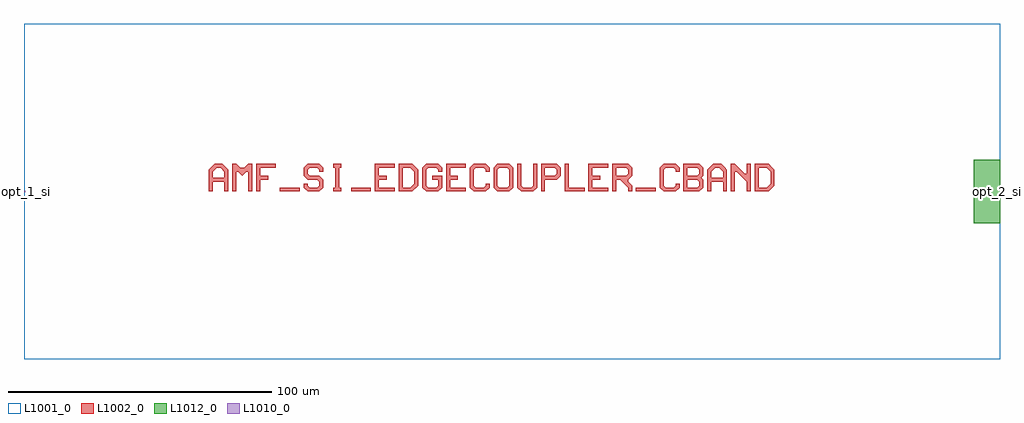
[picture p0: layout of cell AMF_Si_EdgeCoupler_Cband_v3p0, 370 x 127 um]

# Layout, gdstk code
import gdstk
lib = gdstk.Library(unit=1e-6, precision=1e-09)
def R(c, l, rs):  # rectangles x0, y0, x1, y1
    for r in rs: c.add(gdstk.rectangle(r[:2], r[2:], *l))
def P(c, l, *ps):  # polygons
    for p in ps: c.add(gdstk.Polygon(p, *l))
L1001_0 = (1001, 0)
L1002_0 = (1002, 0)
L1010_0 = (1010, 0)
L1012_0 = (1012, 0)

amf_si_edgecoupler_cband = lib.new_cell('AMF_Si_EdgeCoupler_Cband_v3p0')
R(amf_si_edgecoupler_cband, L1001_0, [(0,-63.5,370,63.5)])
R(amf_si_edgecoupler_cband, L1002_0, [(97,0,104.5,1.5), (124,0,131.5,1.5), (232,0,239.5,1.5)])
P(amf_si_edgecoupler_cband, L1002_0, [(70,0),(70,8.25),(72.25,10.5),(75.25,10.5),(76.75,9),(73,9),(71.5,7.5),(71.5,5.25),(76,5.25),(76,7.5),(74.5,9),(76.75,9),(77.5,8.25),(77.5,0),(76,0),(76,3.75),(71.5,3.75),(71.5,0)],
  [(79,0),(79,10.5),(80.5,10.5),(82,9),(83.5,9),(85,10.5),(86.5,10.5),(86.5,0),(85,0),(85,7.5),(84.25,7.5),(82.75,6),(81.25,7.5),(80.5,7.5),(80.5,0)],
  [(88,0),(88,10.5),(95.5,10.5),(95.5,9),(89.5,9),(89.5,6),(92.5,6),(92.5,4.5),(89.5,4.5),(89.5,0)],
  [(107.5,0),(106,1.5),(106,3),(107.5,3),(107.5,2.25),(108.25,1.5),(111.25,1.5),(112,2.25),(112,3.75),(111.25,4.5),(107.5,4.5),(106,6),(106,9),(107.5,10.5),(112,10.5),(113.5,9),(113.5,7.5),(112,7.5),(112,8.25),(111.25,9),(108.25,9),(107.5,8.25),(107.5,6.75),(108.25,6),(112,6),(113.5,4.5),(113.5,1.5),(112,0)],
  [(117.25,0),(117.25,1.5),(118,1.5),(118,9),(117.25,9),(117.25,10.5),(120.25,10.5),(120.25,9),(119.5,9),(119.5,1.5),(120.25,1.5),(120.25,0)],
  [(133,0),(133,10.5),(140.5,10.5),(140.5,9),(134.5,9),(134.5,6),(137.5,6),(137.5,4.5),(134.5,4.5),(134.5,1.5),(140.5,1.5),(140.5,0)],
  [(142,0),(142,10.5),(147.25,10.5),(148.75,9),(143.5,9),(143.5,1.5),(146.5,1.5),(148,3),(148,7.5),(146.5,9),(148.75,9),(149.5,8.25),(149.5,2.25),(147.25,0)],
  [(152.5,0),(151,1.5),(151,9),(152.5,10.5),(157,10.5),(158.5,9),(158.5,7.5),(157,7.5),(157,8.25),(156.25,9),(153.25,9),(152.5,8.25),(152.5,2.25),(153.25,1.5),(156.25,1.5),(157,2.25),(157,4.5),(154.75,4.5),(154.75,6),(158.5,6),(158.5,1.5),(157,0)],
  [(160,0),(160,10.5),(167.5,10.5),(167.5,9),(161.5,9),(161.5,6),(164.5,6),(164.5,4.5),(161.5,4.5),(161.5,1.5),(167.5,1.5),(167.5,0)],
  [(170.5,0),(169,1.5),(169,9),(170.5,10.5),(175,10.5),(176.5,9),(176.5,7.5),(175,7.5),(175,8.25),(174.25,9),(171.25,9),(170.5,8.25),(170.5,2.25),(171.25,1.5),(174.25,1.5),(175,2.25),(175,3),(176.5,3),(176.5,1.5),(175,0)],
  [(179.5,0),(178,1.5),(178,9),(179.5,10.5),(184,10.5),(185.5,9),(185.5,5.25),(184,5.25),(184,8.25),(183.25,9),(180.25,9),(179.5,8.25),(179.5,2.25),(180.25,1.5),(183.25,1.5),(184,2.25),(184,5.25),(185.5,5.25),(185.5,1.5),(184,0)],
  [(188.5,0),(187,1.5),(187,10.5),(188.5,10.5),(188.5,2.25),(189.25,1.5),(192.25,1.5),(193,2.25),(193,10.5),(194.5,10.5),(194.5,1.5),(193,0)],
  [(196,0),(196,10.5),(202,10.5),(203.5,9),(203.5,6),(202,4.5),(197.5,4.5),(197.5,6),(201.25,6),(202,6.75),(202,8.25),(201.25,9),(197.5,9),(197.5,0)],
  [(205,0),(205,10.5),(206.5,10.5),(206.5,1.5),(212.5,1.5),(212.5,0)],
  [(214,0),(214,10.5),(221.5,10.5),(221.5,9),(215.5,9),(215.5,6),(218.5,6),(218.5,4.5),(215.5,4.5),(215.5,1.5),(221.5,1.5),(221.5,0)],
  [(223,0),(223,10.5),(229,10.5),(230.5,9),(224.5,9),(224.5,6),(228.25,6),(229,6.75),(229,8.25),(228.25,9),(230.5,9),(230.5,6),(229,4.5),(229,3.75),(230.5,2.25),(230.5,0),(229,0),(229,1.5),(226,4.5),(224.5,4.5),(224.5,0)],
  [(242.5,0),(241,1.5),(241,9),(242.5,10.5),(247,10.5),(248.5,9),(248.5,7.5),(247,7.5),(247,8.25),(246.25,9),(243.25,9),(242.5,8.25),(242.5,2.25),(243.25,1.5),(246.25,1.5),(247,2.25),(247,3),(248.5,3),(248.5,1.5),(247,0)],
  [(250,0),(250,10.5),(256,10.5),(257.5,9),(251.5,9),(251.5,6),(255.25,6),(256,6.75),(256,8.25),(255.25,9),(257.5,9),(257.5,6),(256.75,5.25),(257.5,4.5),(251.5,4.5),(251.5,1.5),(255.25,1.5),(256,2.25),(256,3.75),(255.25,4.5),(257.5,4.5),(257.5,1.5),(256,0)],
  [(259,0),(259,8.25),(261.25,10.5),(264.25,10.5),(265.75,9),(262,9),(260.5,7.5),(260.5,5.25),(265,5.25),(265,7.5),(263.5,9),(265.75,9),(266.5,8.25),(266.5,0),(265,0),(265,3.75),(260.5,3.75),(260.5,0)],
  [(268,0),(268,10.5),(269.5,10.5),(273.25,6.75),(274,6.75),(274,10.5),(275.5,10.5),(275.5,0),(274,0),(274,3.75),(270.25,7.5),(269.5,7.5),(269.5,0)],
  [(277,0),(277,10.5),(282.25,10.5),(283.75,9),(278.5,9),(278.5,1.5),(281.5,1.5),(283,3),(283,7.5),(281.5,9),(283.75,9),(284.5,8.25),(284.5,2.25),(282.25,0)])
R(amf_si_edgecoupler_cband, L1010_0, [(0,-0.25,0.5,0.25)])
R(amf_si_edgecoupler_cband, L1012_0, [(360,-12,370,12)])
amf_si_edgecoupler_cband.add(gdstk.Label('opt_1_si', (0,0), layer=1010, texttype=0))
amf_si_edgecoupler_cband.add(gdstk.Label('opt_2_si', (370,0), layer=1012, texttype=0))

lib.write_gds('AMF_Si_EdgeCoupler_Cband_v3p0.gds')
